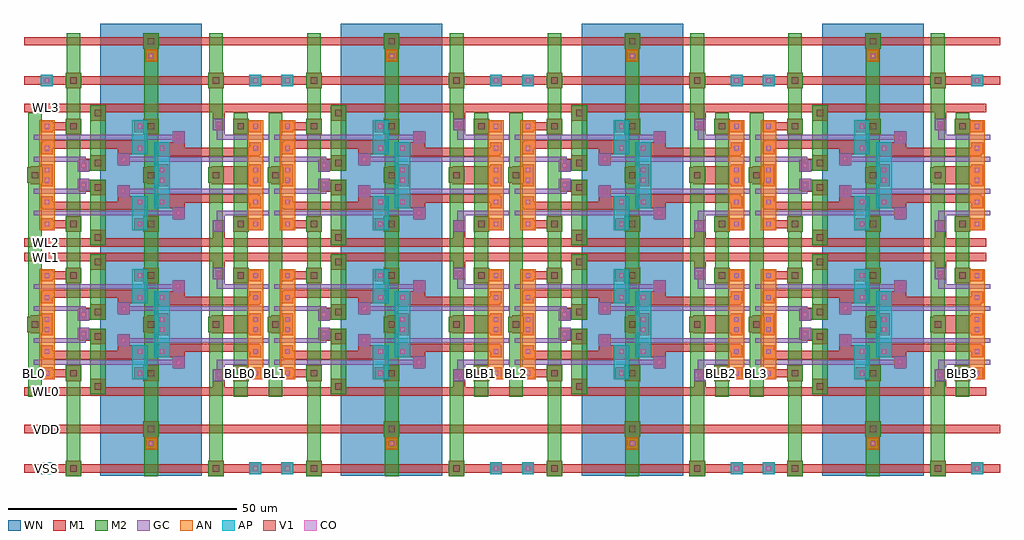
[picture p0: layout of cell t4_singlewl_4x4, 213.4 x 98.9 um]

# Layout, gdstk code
import gdstk
lib = gdstk.Library(unit=1e-6, precision=1e-07)
def R(c, l, rs):  # rectangles x0, y0, x1, y1
    for r in rs: c.add(gdstk.rectangle(r[:2], r[2:], *l))
def A(c, l, x, y, w, h, nx, ny, dx, dy):  # array of equal rectangles
    R(c, l, [(x+i*dx, y+j*dy, x+i*dx+w, y+j*dy+h) for i in range(nx) for j in range(ny)])
def P(c, l, *ps):  # polygons
    for p in ps: c.add(gdstk.Polygon(p, *l))
AP = (3, 1)
AN = (3, 2)
GC = (8, 1)
CO = (11, 0)
M1 = (13, 0)
V1 = (19, 0)
M2 = (20, 0)
WN = (140, 0)

t4_shared_via_core = lib.new_cell('t4_shared_via_core')
R(t4_shared_via_core, AP, [(18.7,-1.3,22.1,6.1), (23.5,3.5,26.9,10.9)])
R(t4_shared_via_core, AN, [(-1.7,-1.3,1.7,10.9), (43.9,-1.3,47.3,10.9)])
P(t4_shared_via_core, GC, [(36.3,-1.7),(36.3,0.9),(37.1,0.9),(37.1,2.9),(48.5,2.9),(48.5,1.9),(38.9,1.9),(38.9,-1.7)],
  [(27.5,1.1),(27.5,1.9),(-2.9,1.9),(-2.9,2.9),(27.5,2.9),(27.5,3.7),(30.1,3.7),(30.1,1.1)],
  [(15.5,5.9),(15.5,8.5),(18.1,8.5),(18.1,7.7),(48.5,7.7),(48.5,6.7),(18.1,6.7),(18.1,5.9)],
  [(-2.9,6.7),(-2.9,7.7),(6.7,7.7),(6.7,9.9),(9.3,9.9),(9.3,7.3),(8.5,7.3),(8.5,6.7)])
A(t4_shared_via_core, CO, -0.5, -0.5, 1, 1, 1, 3, 0, 4.8)
A(t4_shared_via_core, CO, 45.1, -0.5, 1, 1, 1, 3, 0, 4.8)
R(t4_shared_via_core, CO, [(37.1,-0.9,38.1,0.1), (19.9,-0.5,20.9,0.5), (28.3,1.9,29.3,2.9), (19.9,4.3,20.9,5.3), (24.7,4.3,25.7,5.3), (16.3,6.7,17.3,7.7), (7.5,8.1,8.5,9.1), (24.7,9.1,25.7,10.1)])
P(t4_shared_via_core, M1, [(-5,-4.9),(-5,-3.1),(9.5,-3.1),(9.5,-1.2),(12.9,-1.2),(12.9,-3.1),(36.3,-3.1),(36.3,0.9),(38.9,0.9),(38.9,-3.1),(47.6,-3.1),(47.6,-4.9)],
  [(4.1,-1.7),(4.1,-0.9),(1.3,-0.9),(1.3,-1.3),(-1.3,-1.3),(-1.3,1.3),(1.3,1.3),(1.3,0.9),(4.1,0.9),(4.1,1.7),(7.5,1.7),(7.5,-1.7)],
  [(21.1,-1.7),(21.1,-1.3),(19.1,-1.3),(19.1,1.3),(21.1,1.3),(21.1,1.7),(24.5,1.7),(24.5,-1.7)],
  [(40.7,-1.7),(40.7,1.7),(44.1,1.7),(44.1,1.3),(46.9,1.3),(46.9,-1.3),(44.1,-1.3),(44.1,-1.7)],
  [(27.5,1.1),(27.5,3.5),(23.9,3.5),(23.9,6.1),(24.3,6.1),(24.3,6.5),(46.5,6.5),(46.5,6.1),(46.9,6.1),(46.9,3.5),(44.3,3.5),(44.3,4.7),(30.1,4.7),(30.1,1.1)],
  [(-0.9,3.1),(-0.9,3.5),(-1.3,3.5),(-1.3,6.1),(1.3,6.1),(1.3,4.9),(15.5,4.9),(15.5,8.5),(18.1,8.5),(18.1,6.1),(21.7,6.1),(21.7,3.5),(21.3,3.5),(21.3,3.1)],
  [(9.5,6.3),(9.5,7.1),(7.1,7.1),(7.1,7.3),(6.7,7.3),(6.7,9.9),(9.3,9.9),(9.3,9.7),(12.9,9.7),(12.9,6.3)],
  [(-1.3,8.3),(-1.3,8.7),(-3.5,8.7),(-3.5,10.5),(-1.3,10.5),(-1.3,10.9),(1.3,10.9),(1.3,8.3)],
  [(23.9,8.3),(23.9,8.7),(21.9,8.7),(21.9,10.5),(23.9,10.5),(23.9,10.9),(26.5,10.9),(26.5,8.3)],
  [(44.3,8.3),(44.3,8.7),(36.1,8.7),(36.1,10.5),(44.3,10.5),(44.3,10.9),(46.9,10.9),(46.9,8.3)])
R(t4_shared_via_core, V1, [(10.5,-3.6,11.9,-2.2), (5.1,-0.7,6.5,0.7), (22.1,-0.7,23.5,0.7), (41.7,-0.7,43.1,0.7), (10.5,7.3,11.9,8.7)])
R(t4_shared_via_core, M2, [(9.5,-4.6,12.9,-1.2), (9.5,-4.6,12.9,9.7), (4.1,-1.7,7.5,1.7), (21.1,-1.7,24.5,1.7), (40.7,-1.7,44.1,1.7), (9.5,6.3,12.9,9.7)])
R(t4_shared_via_core, WN, [(11.7,-8.3,33.9,17.9)])

t4_singlewl_4x4 = lib.new_cell('t4_singlewl_4x4')
A(t4_singlewl_4x4, AP, 23.5, 9.6, 3.4, 2.2, 4, 2, 52.6, 32.6)
R(t4_singlewl_4x4, AP, [(-1.3,-22.1,1.3,-19.5), (44.3,-22.1,46.9,-19.5), (51.3,-22.1,53.9,-19.5), (96.9,-22.1,99.5,-19.5), (103.9,-22.1,106.5,-19.5), (149.5,-22.1,152.1,-19.5), (156.5,-22.1,159.1,-19.5), (202.1,-22.1,204.7,-19.5), (-1.3,62.7,1.3,65.3), (44.3,62.7,46.9,65.3), (51.3,62.7,53.9,65.3), (96.9,62.7,99.5,65.3), (103.9,62.7,106.5,65.3), (149.5,62.7,152.1,65.3), (156.5,62.7,159.1,65.3), (202.1,62.7,204.7,65.3)])
A(t4_singlewl_4x4, AN, 21.5, -16.7, 2.6, 2.6, 4, 2, 52.6, 84.8)
R(t4_singlewl_4x4, AN, [(-1.7,9.6,1.7,11.8), (43.9,9.6,47.3,11.8), (50.9,9.6,54.3,11.8), (96.5,9.6,99.9,11.8), (103.5,9.6,106.9,11.8), (149.1,9.6,152.5,11.8), (156.1,9.6,159.5,11.8), (201.7,9.6,205.1,11.8), (-1.7,42.2,1.7,44.4), (43.9,42.2,47.3,44.4), (50.9,42.2,54.3,44.4), (96.5,42.2,99.9,44.4), (103.5,42.2,106.9,44.4), (149.1,42.2,152.5,44.4), (156.1,42.2,159.5,44.4), (201.7,42.2,205.1,44.4)])
A(t4_singlewl_4x4, CO, 22.3, -15.9, 1, 1, 4, 2, 52.6, 84.8)
R(t4_singlewl_4x4, CO, [(-0.5,-21.3,0.5,-20.3), (45.1,-21.3,46.1,-20.3), (52.1,-21.3,53.1,-20.3), (97.7,-21.3,98.7,-20.3), (104.7,-21.3,105.7,-20.3), (150.3,-21.3,151.3,-20.3), (157.3,-21.3,158.3,-20.3), (202.9,-21.3,203.9,-20.3), (-0.5,63.5,0.5,64.5), (45.1,63.5,46.1,64.5), (52.1,63.5,53.1,64.5), (97.7,63.5,98.7,64.5), (104.7,63.5,105.7,64.5), (150.3,63.5,151.3,64.5), (157.3,63.5,158.3,64.5), (202.9,63.5,203.9,64.5)])
A(t4_singlewl_4x4, M1, -0.9, -21.7, 7.6, 1.8, 4, 2, 52.6, 84.8)
A(t4_singlewl_4x4, M1, 36.1, -21.7, 10.4, 1.8, 4, 2, 52.6, 84.8)
A(t4_singlewl_4x4, M1, 21.5, -16.7, 2.6, 2.6, 4, 2, 52.6, 84.8)
A(t4_singlewl_4x4, M1, 21.9, -16.3, 1.8, 5, 4, 2, 52.6, 84.8)
A(t4_singlewl_4x4, M1, 21.1, -13.9, 3.4, 3.4, 4, 2, 52.6, 84.8)
A(t4_singlewl_4x4, M1, 38.7, 10.5, 5.6, 0.4, 4, 2, 52.6, 32.6)
R(t4_singlewl_4x4, M1, [(4.1,-22.5,7.5,-19.1), (35.3,-22.5,38.7,-19.1), (56.7,-22.5,60.1,-19.1), (87.9,-22.5,91.3,-19.1), (109.3,-22.5,112.7,-19.1), (140.5,-22.5,143.9,-19.1), (161.9,-22.5,165.3,-19.1), (193.1,-22.5,196.5,-19.1), (-1.3,-22.1,1.3,-19.5), (44.3,-22.1,46.9,-19.5), (51.3,-22.1,53.9,-19.5), (96.9,-22.1,99.5,-19.5), (103.9,-22.1,106.5,-19.5), (149.5,-22.1,152.1,-19.5), (156.5,-22.1,159.1,-19.5), (202.1,-22.1,204.7,-19.5), (-4.9,-21.7,208.4,-19.9), (-4.9,-21.7,208.4,-19.9), (-4.9,-21.7,208.4,-19.9), (-4.9,-21.7,208.4,-19.9), (21.5,-14.1,21.9,-13.9), (23.7,-14.1,24.1,-13.9), (74.1,-14.1,74.5,-13.9), (76.3,-14.1,76.7,-13.9), (126.7,-14.1,127.1,-13.9), (128.9,-14.1,129.3,-13.9), (179.3,-14.1,179.7,-13.9), (181.5,-14.1,181.9,-13.9), (-4.9,-13.1,208.4,-11.3), (-4.9,-13.1,208.4,-11.3), (-4.9,-13.1,208.4,-11.3), (-4.9,-13.1,208.4,-11.3), (-4.3,9,-0.9,12.4), (21.1,9,24.5,12.4), (35.3,9,38.7,12.4), (48.3,9,51.7,12.4), (73.7,9,77.1,12.4), (87.9,9,91.3,12.4), (100.9,9,104.3,12.4), (126.3,9,129.7,12.4), (140.5,9,143.9,12.4), (153.5,9,156.9,12.4), (178.9,9,182.3,12.4), (193.1,9,196.5,12.4), (-4.3,41.6,-0.9,45), (21.1,41.6,24.5,45), (35.3,41.6,38.7,45), (48.3,41.6,51.7,45), (73.7,41.6,77.1,45), (87.9,41.6,91.3,45), (100.9,41.6,104.3,45), (126.3,41.6,129.7,45), (140.5,41.6,143.9,45), (153.5,41.6,156.9,45), (178.9,41.6,182.3,45), (193.1,41.6,196.5,45), (4.1,62.3,7.5,65.7), (35.3,62.3,38.7,65.7), (56.7,62.3,60.1,65.7), (87.9,62.3,91.3,65.7), (109.3,62.3,112.7,65.7), (140.5,62.3,143.9,65.7), (161.9,62.3,165.3,65.7), (193.1,62.3,196.5,65.7), (-1.3,62.7,1.3,65.3), (44.3,62.7,46.9,65.3), (51.3,62.7,53.9,65.3), (96.9,62.7,99.5,65.3), (103.9,62.7,106.5,65.3), (149.5,62.7,152.1,65.3), (156.5,62.7,159.1,65.3), (202.1,62.7,204.7,65.3), (-4.9,63.1,208.4,64.9), (-4.9,63.1,208.4,64.9), (-4.9,63.1,208.4,64.9), (-4.9,63.1,208.4,64.9), (21.5,70.7,21.9,70.9), (23.7,70.7,24.1,70.9), (74.1,70.7,74.5,70.9), (76.3,70.7,76.7,70.9), (126.7,70.7,127.1,70.9), (128.9,70.7,129.3,70.9), (179.3,70.7,179.7,70.9), (181.5,70.7,181.9,70.9), (-4.9,71.7,208.4,73.5), (-4.9,71.7,208.4,73.5), (-4.9,71.7,208.4,73.5), (-4.9,71.7,208.4,73.5)])
A(t4_singlewl_4x4, V1, 22.1, -12.9, 1.4, 1.4, 4, 2, 52.6, 84.8)
R(t4_singlewl_4x4, V1, [(5.1,-21.5,6.5,-20.1), (36.3,-21.5,37.7,-20.1), (57.7,-21.5,59.1,-20.1), (88.9,-21.5,90.3,-20.1), (110.3,-21.5,111.7,-20.1), (141.5,-21.5,142.9,-20.1), (162.9,-21.5,164.3,-20.1), (194.1,-21.5,195.5,-20.1), (-3.3,10,-1.9,11.4), (22.1,10,23.5,11.4), (36.3,10,37.7,11.4), (49.3,10,50.7,11.4), (74.7,10,76.1,11.4), (88.9,10,90.3,11.4), (101.9,10,103.3,11.4), (127.3,10,128.7,11.4), (141.5,10,142.9,11.4), (154.5,10,155.9,11.4), (179.9,10,181.3,11.4), (194.1,10,195.5,11.4), (-3.3,42.6,-1.9,44), (22.1,42.6,23.5,44), (36.3,42.6,37.7,44), (49.3,42.6,50.7,44), (74.7,42.6,76.1,44), (88.9,42.6,90.3,44), (101.9,42.6,103.3,44), (127.3,42.6,128.7,44), (141.5,42.6,142.9,44), (154.5,42.6,155.9,44), (179.9,42.6,181.3,44), (194.1,42.6,195.5,44), (5.1,63.3,6.5,64.7), (36.3,63.3,37.7,64.7), (57.7,63.3,59.1,64.7), (88.9,63.3,90.3,64.7), (110.3,63.3,111.7,64.7), (141.5,63.3,142.9,64.7), (162.9,63.3,164.3,64.7), (194.1,63.3,195.5,64.7)])
A(t4_singlewl_4x4, M2, 21.1, -13.9, 3.4, 3.4, 4, 2, 52.6, 84.8)
R(t4_singlewl_4x4, M2, [(4.1,-22.5,7.5,-19.1), (4.3,-22.5,7.3,74.3), (21.3,-22.5,24.3,74.3), (35.3,-22.5,38.7,-19.1), (35.5,-22.5,38.5,74.3), (56.7,-22.5,60.1,-19.1), (56.9,-22.5,59.9,74.3), (73.9,-22.5,76.9,74.3), (87.9,-22.5,91.3,-19.1), (88.1,-22.5,91.1,74.3), (109.3,-22.5,112.7,-19.1), (109.5,-22.5,112.5,74.3), (126.5,-22.5,129.5,74.3), (140.5,-22.5,143.9,-19.1), (140.7,-22.5,143.7,74.3), (161.9,-22.5,165.3,-19.1), (162.1,-22.5,165.1,74.3), (179.1,-22.5,182.1,74.3), (193.1,-22.5,196.5,-19.1), (193.3,-22.5,196.3,74.3), (-4.1,-5.1,-1.1,57), (40.9,-5.1,43.9,57), (48.5,-5.1,51.5,57), (93.5,-5.1,96.5,57), (101.1,-5.1,104.1,57), (146.1,-5.1,149.1,57), (153.7,-5.1,156.7,57), (198.7,-5.1,201.7,57), (-4.3,9,-0.9,12.4), (21.1,9,24.5,12.4), (35.3,9,38.7,12.4), (48.3,9,51.7,12.4), (73.7,9,77.1,12.4), (87.9,9,91.3,12.4), (100.9,9,104.3,12.4), (126.3,9,129.7,12.4), (140.5,9,143.9,12.4), (153.5,9,156.9,12.4), (178.9,9,182.3,12.4), (193.1,9,196.5,12.4), (-4.3,41.6,-0.9,45), (21.1,41.6,24.5,45), (35.3,41.6,38.7,45), (48.3,41.6,51.7,45), (73.7,41.6,77.1,45), (87.9,41.6,91.3,45), (100.9,41.6,104.3,45), (126.3,41.6,129.7,45), (140.5,41.6,143.9,45), (153.5,41.6,156.9,45), (178.9,41.6,182.3,45), (193.1,41.6,196.5,45), (4.1,62.3,7.5,65.7), (35.3,62.3,38.7,65.7), (56.7,62.3,60.1,65.7), (87.9,62.3,91.3,65.7), (109.3,62.3,112.7,65.7), (140.5,62.3,143.9,65.7), (161.9,62.3,165.3,65.7), (193.1,62.3,196.5,65.7)])
A(t4_singlewl_4x4, WN, 11.7, -22.4, 22.2, 98.8, 4, 1, 52.6, 0)
t4_singlewl_4x4.add(gdstk.Reference(t4_shared_via_core, (0,0)))
t4_singlewl_4x4.add(gdstk.Reference(t4_shared_via_core, (52.6,0)))
t4_singlewl_4x4.add(gdstk.Reference(t4_shared_via_core, (105.2,0)))
t4_singlewl_4x4.add(gdstk.Reference(t4_shared_via_core, (157.8,0)))
t4_singlewl_4x4.add(gdstk.Reference(t4_shared_via_core, (0,21.4), x_reflection=True))
t4_singlewl_4x4.add(gdstk.Reference(t4_shared_via_core, (52.6,21.4), x_reflection=True))
t4_singlewl_4x4.add(gdstk.Reference(t4_shared_via_core, (105.2,21.4), x_reflection=True))
t4_singlewl_4x4.add(gdstk.Reference(t4_shared_via_core, (157.8,21.4), x_reflection=True))
t4_singlewl_4x4.add(gdstk.Reference(t4_shared_via_core, (0,32.6)))
t4_singlewl_4x4.add(gdstk.Reference(t4_shared_via_core, (52.6,32.6)))
t4_singlewl_4x4.add(gdstk.Reference(t4_shared_via_core, (105.2,32.6)))
t4_singlewl_4x4.add(gdstk.Reference(t4_shared_via_core, (157.8,32.6)))
t4_singlewl_4x4.add(gdstk.Reference(t4_shared_via_core, (0,54), x_reflection=True))
t4_singlewl_4x4.add(gdstk.Reference(t4_shared_via_core, (52.6,54), x_reflection=True))
t4_singlewl_4x4.add(gdstk.Reference(t4_shared_via_core, (105.2,54), x_reflection=True))
t4_singlewl_4x4.add(gdstk.Reference(t4_shared_via_core, (157.8,54), x_reflection=True))
t4_singlewl_4x4.add(gdstk.Label('WL0', (0,-4), layer=48, texttype=0))
t4_singlewl_4x4.add(gdstk.Label('WL1', (0,25.4), layer=48, texttype=0))
t4_singlewl_4x4.add(gdstk.Label('WL2', (0,28.6), layer=48, texttype=0))
t4_singlewl_4x4.add(gdstk.Label('WL3', (0,58), layer=48, texttype=0))
t4_singlewl_4x4.add(gdstk.Label('VDD', (0,-12.2), layer=48, texttype=0))
t4_singlewl_4x4.add(gdstk.Label('VSS', (0,-20.8), layer=48, texttype=0))
t4_singlewl_4x4.add(gdstk.Label('BL0', (-2.6,0), layer=49, texttype=0))
t4_singlewl_4x4.add(gdstk.Label('BLB0', (42.4,0), layer=49, texttype=0))
t4_singlewl_4x4.add(gdstk.Label('BL1', (50,0), layer=49, texttype=0))
t4_singlewl_4x4.add(gdstk.Label('BLB1', (95,0), layer=49, texttype=0))
t4_singlewl_4x4.add(gdstk.Label('BL2', (102.6,0), layer=49, texttype=0))
t4_singlewl_4x4.add(gdstk.Label('BLB2', (147.6,0), layer=49, texttype=0))
t4_singlewl_4x4.add(gdstk.Label('BL3', (155.2,0), layer=49, texttype=0))
t4_singlewl_4x4.add(gdstk.Label('BLB3', (200.2,0), layer=49, texttype=0))

lib.write_gds('t4_singlewl_4x4.gds')
